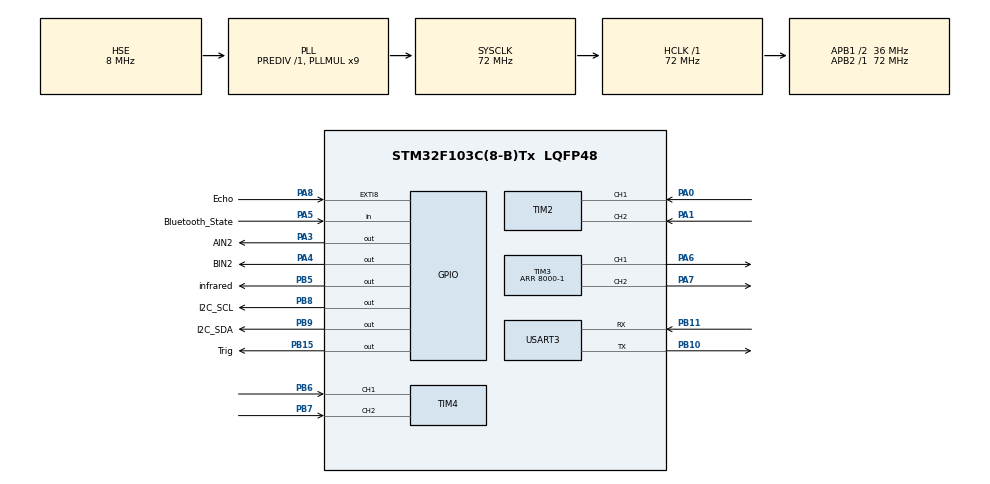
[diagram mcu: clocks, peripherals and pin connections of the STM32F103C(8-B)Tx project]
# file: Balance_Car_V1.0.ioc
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Dma.Request0=USART3_RX
Dma.Request1=USART3_TX
Dma.USART3_RX.0.Direction=DMA_PERIPH_TO_MEMORY
Dma.USART3_RX.0.Instance=DMA1_Channel3
Dma.USART3_RX.0.MemDataAlignment=DMA_MDATAALIGN_BYTE
Dma.USART3_RX.0.MemInc=DMA_MINC_ENABLE
Dma.USART3_RX.0.Mode=DMA_NORMAL
Dma.USART3_RX.0.PeriphDataAlignment=DMA_PDATAALIGN_BYTE
Dma.USART3_RX.0.PeriphInc=DMA_PINC_DISABLE
Dma.USART3_RX.0.Priority=DMA_PRIORITY_LOW
Dma.USART3_TX.1.Direction=DMA_MEMORY_TO_PERIPH
Dma.USART3_TX.1.Instance=DMA1_Channel2
Dma.USART3_TX.1.MemDataAlignment=DMA_MDATAALIGN_BYTE
Dma.USART3_TX.1.MemInc=DMA_MINC_ENABLE
Dma.USART3_TX.1.Mode=DMA_NORMAL
Dma.USART3_TX.1.PeriphDataAlignment=DMA_PDATAALIGN_BYTE
Dma.USART3_TX.1.PeriphInc=DMA_PINC_DISABLE
Dma.USART3_TX.1.Priority=DMA_PRIORITY_LOW
FREERTOS.Tasks01=defaultTask,24,128,StartDefaultTask,Default,NULL,Dynamic,NULL,NULL
FREERTOS.configLIBRARY_MAX_SYSCALL_INTERRUPT_PRIORITY=5
Mcu.Family=STM32F1
Mcu.Name=STM32F103C(8-B)Tx
Mcu.Package=LQFP48
NVIC.DMA1_Channel2_IRQn=true\:6\:0\:true\:false\:true\:true\:false\:true\:true
NVIC.DMA1_Channel3_IRQn=true\:6\:0\:true\:false\:true\:true\:false\:true\:true
NVIC.EXTI9_5_IRQn=true\:10\:0\:true\:false\:true\:true\:true\:true\:true
NVIC.PriorityGroup=NVIC_PRIORITYGROUP_4
NVIC.TIM1_UP_IRQn=true\:0\:0\:true\:false\:true\:false\:false\:true\:true
NVIC.TIM3_IRQn=true\:5\:0\:false\:false\:true\:true\:true\:true\:true
NVIC.TimeBase=TIM1_UP_IRQn
NVIC.TimeBaseIP=TIM1
NVIC.USART3_IRQn=true\:6\:0\:true\:false\:true\:true\:true\:true\:true
PA0-WKUP.Signal=S_TIM2_CH1_ETR
PA1.Signal=S_TIM2_CH2
PA13.Mode=Serial_Wire
PA13.Signal=SYS_JTMS-SWDIO
PA14.Mode=Serial_Wire
PA14.Signal=SYS_JTCK-SWCLK
PA3.GPIO_Label=AIN2
PA3.GPIO_Speed=GPIO_SPEED_FREQ_HIGH
PA3.Signal=GPIO_Output
PA4.GPIO_Label=BIN2
PA4.GPIO_Speed=GPIO_SPEED_FREQ_HIGH
PA4.Signal=GPIO_Output
PA5.GPIO_Label=Bluetooth_State
PA5.Signal=GPIO_Input
PA6.Signal=S_TIM3_CH1
PA7.Signal=S_TIM3_CH2
PA8.GPIO_Label=Echo
PA8.GPIO_ModeDefaultEXTI=GPIO_MODE_IT_RISING_FALLING
PA8.Signal=GPXTI8
PB10.Mode=Asynchronous
PB10.Signal=USART3_TX
PB11.Mode=Asynchronous
PB11.Signal=USART3_RX
PB15.GPIO_Label=Trig
PB15.Signal=GPIO_Output
PB5.GPIO_Label=infrared
PB5.GPIO_Speed=GPIO_SPEED_FREQ_LOW
PB5.PinState=GPIO_PIN_SET
PB5.Signal=GPIO_Output
PB6.Signal=S_TIM4_CH1
PB7.Signal=S_TIM4_CH2
PB8.GPIO_Label=I2C_SCL
PB8.GPIO_ModeDefaultOutputPP=GPIO_MODE_OUTPUT_OD
PB8.GPIO_PuPd=GPIO_PULLUP
PB8.GPIO_Speed=GPIO_SPEED_FREQ_HIGH
PB8.PinState=GPIO_PIN_SET
PB8.Signal=GPIO_Output
PB9.GPIO_Label=I2C_SDA
PB9.GPIO_ModeDefaultOutputPP=GPIO_MODE_OUTPUT_OD
PB9.GPIO_PuPd=GPIO_PULLUP
PB9.GPIO_Speed=GPIO_SPEED_FREQ_HIGH
PB9.PinState=GPIO_PIN_SET
PB9.Signal=GPIO_Output
PD0-OSC_IN.Mode=HSE-External-Oscillator
PD0-OSC_IN.Signal=RCC_OSC_IN
PD1-OSC_OUT.Mode=HSE-External-Oscillator
PD1-OSC_OUT.Signal=RCC_OSC_OUT
ProjectManager.HeapSize=0x200
ProjectManager.StackSize=0x400
ProjectManager.TargetToolchain=Makefile
RCC.AHBFreq_Value=72000000
RCC.APB1CLKDivider=RCC_HCLK_DIV2
RCC.APB1Freq_Value=36000000
RCC.APB1TimFreq_Value=72000000
RCC.APB2Freq_Value=72000000
RCC.APB2TimFreq_Value=72000000
RCC.HCLKFreq_Value=72000000
RCC.PLLMUL=RCC_PLL_MUL9
RCC.PLLSourceVirtual=RCC_PLLSOURCE_HSE
RCC.SYSCLKFreq_VALUE=72000000
RCC.SYSCLKSource=RCC_SYSCLKSOURCE_PLLCLK
RCC.USBFreq_Value=72000000
SH.S_TIM2_CH1_ETR.0=TIM2_CH1,Encoder_Interface
SH.S_TIM2_CH2.0=TIM2_CH2,Encoder_Interface
SH.S_TIM3_CH1.0=TIM3_CH1,PWM Generation1 CH1
SH.S_TIM3_CH2.0=TIM3_CH2,PWM Generation2 CH2
SH.S_TIM4_CH1.0=TIM4_CH1,Encoder_Interface
SH.S_TIM4_CH2.0=TIM4_CH2,Encoder_Interface
TIM3.Channel-PWM\ Generation1\ CH1=TIM_CHANNEL_1
TIM3.Channel-PWM\ Generation2\ CH2=TIM_CHANNEL_2
TIM3.Period=8000-1
USART3.VirtualMode=VM_ASYNC
VP_FREERTOS_VS_CMSIS_V2.Mode=CMSIS_V2
VP_SYS_VS_tim1.Mode=TIM1
board=custom

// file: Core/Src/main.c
/* USER CODE BEGIN Header */
/**
  ******************************************************************************
  * @file           : main.c
  * @brief          : Main program body
  ******************************************************************************
  * @attention
  *
  * Copyright (c) 2023 STMicroelectronics.
  * All rights reserved.
  *
  * This software is licensed under terms that can be found in the LICENSE file
  * in the root directory of this software component.
  * If no LICENSE file comes with this software, it is provided AS-IS.
  *
  ******************************************************************************
  */
/* USER CODE END Header */
#include "main.h"
#include "cmsis_os.h"
#include "dma.h"
#include "tim.h"
#include "usart.h"
#include "gpio.h"

/* USER CODE BEGIN Includes */
#include"OLED_Driver.h"
extern uint8_t complete_record;
extern osMessageQueueId_t uart_rx_dma_queue_id;
extern uint32_t time_record[4];
extern float dist;

/* USER CODE END Includes */

void SystemClock_Config(void);
void MX_FREERTOS_Init(void);

int main(void)
{

  /* MCU Configuration--------------------------------------------------------*/

  /* Reset of all peripherals, Initializes the Flash interface and the Systick. */
  HAL_Init();

  /* Configure the system clock */
  SystemClock_Config();

  /* Initialize all configured peripherals */
  MX_GPIO_Init();
  MX_DMA_Init();
  MX_USART3_UART_Init();
  MX_TIM2_Init();
  MX_TIM3_Init();
  MX_TIM4_Init();

  /* Init scheduler */
  osKernelInitialize();  /* Call init function for freertos objects (in freertos.c) */
  MX_FREERTOS_Init();

  /* Start scheduler */
  osKernelStart();
  /* We should never get here as control is now taken by the scheduler */
  /* Infinite loop */
  while (1)
  {

  }
}

void SystemClock_Config(void)
{
  RCC_OscInitTypeDef RCC_OscInitStruct = {0};
  RCC_ClkInitTypeDef RCC_ClkInitStruct = {0};

  /** Initializes the RCC Oscillators according to the specified parameters
  * in the RCC_OscInitTypeDef structure.
  */
  RCC_OscInitStruct.OscillatorType = RCC_OSCILLATORTYPE_HSE;
  RCC_OscInitStruct.HSEState = RCC_HSE_ON;
  RCC_OscInitStruct.HSEPredivValue = RCC_HSE_PREDIV_DIV1;
  RCC_OscInitStruct.HSIState = RCC_HSI_ON;
  RCC_OscInitStruct.PLL.PLLState = RCC_PLL_ON;
  RCC_OscInitStruct.PLL.PLLSource = RCC_PLLSOURCE_HSE;
  RCC_OscInitStruct.PLL.PLLMUL = RCC_PLL_MUL9;
  if (HAL_RCC_OscConfig(&RCC_OscInitStruct) != HAL_OK)
  {
    Error_Handler();
  }

  /** Initializes the CPU, AHB and APB buses clocks
  */
  RCC_ClkInitStruct.ClockType = RCC_CLOCKTYPE_HCLK|RCC_CLOCKTYPE_SYSCLK
                              |RCC_CLOCKTYPE_PCLK1|RCC_CLOCKTYPE_PCLK2;
  RCC_ClkInitStruct.SYSCLKSource = RCC_SYSCLKSOURCE_PLLCLK;
  RCC_ClkInitStruct.AHBCLKDivider = RCC_SYSCLK_DIV1;
  RCC_ClkInitStruct.APB1CLKDivider = RCC_HCLK_DIV2;
  RCC_ClkInitStruct.APB2CLKDivider = RCC_HCLK_DIV1;

  if (HAL_RCC_ClockConfig(&RCC_ClkInitStruct, FLASH_LATENCY_2) != HAL_OK)
  {
    Error_Handler();
  }
}

/* USER CODE BEGIN 4 */

/**
  * @brief  PWM Pulse finished callback in non-blocking mode
  * @param  htim TIM handle
  * @retval None
  */
void HAL_TIM_PWM_PulseFinishedCallback(TIM_HandleTypeDef *htim)
{
    // if(htim->Instance == TIM3)
    // {
    //   if(htim->Channel == HAL_TIM_ACTIVE_CHANNEL_3)
    //   {
    //      HAL_GPIO_WritePin(GPIOA,GPIO_PIN_3,RESET);
    //   }
    //   if(htim->Channel == HAL_TIM_ACTIVE_CHANNEL_4)
    //   {
    //     HAL_GPIO_WritePin(GPIOA,GPIO_PIN_4,RESET);
    //   }
    // }
    if(htim->Channel == HAL_TIM_ACTIVE_CHANNEL_3)
    {
        GPIOA->BRR = GPIO_PIN_3;
    } else if(htim->Channel == HAL_TIM_ACTIVE_CHANNEL_4)
    {
        GPIOA->BRR = GPIO_PIN_4;
    }
}

/*
  *@brief UART Callback function
*/
void HAL_UART_RxCpltCallback(UART_HandleTypeDef *huart)
{
  if(USART3 == huart->Instance){
      void *d = (void*)1;
      __HAL_UART_CLEAR_IDLEFLAG(huart);
      osMessageQueuePut(uart_rx_dma_queue_id,&d,0,0);
  }
  //osMessageQueuePut(uart_rx_dma_queue_id,&d,0,0);
}

/*
  * @brief  Echo Callback
  * @param  GPIO_Pin ：Echo_Pin
  * @retval 无
*/
void HAL_GPIO_EXTI_Callback(uint16_t GPIO_Pin)
{
  __HAL_GPIO_EXTI_CLEAR_IT(GPIO_Pin);
  if(GPIO_Pin == Echo_Pin)
  {
    //pull up trigger
    if(HAL_GPIO_ReadPin(Echo_GPIO_Port,Echo_Pin)==GPIO_PIN_SET)
    {
        time_record[1] = get_sysTick_ms();
        time_record[3] = get_sysTick_us_part();

    }
    //pull down trigger
    else if(HAL_GPIO_ReadPin(Echo_GPIO_Port,Echo_Pin)==GPIO_PIN_RESET)
    {
      //us
        uint32_t total_time;
        time_record[0] = get_sysTick_ms();
        time_record[2] = get_sysTick_us_part();
        total_time = (time_record[0] - time_record[1])*1000 + time_record[3] - time_record[2];
        dist = (float)total_time * 0.17;
    }
  }
}

/* USER CODE END 4 */

void HAL_TIM_PeriodElapsedCallback(TIM_HandleTypeDef *htim)
{
  /* USER CODE BEGIN Callback 0 */
   if(TIM3->CCR3 != 0)
        GPIOA->BSRR = GPIO_PIN_3;
    if(TIM3->CCR4 != 0)
        GPIOA->BSRR = GPIO_PIN_4;
  /* USER CODE END Callback 0 */
  if (htim->Instance == TIM1) {
    HAL_IncTick();
  }
  /* USER CODE BEGIN Callback 1 */
  // if (htim->Instance == TIM3)
  // {
  //    if((__HAL_TIM_GET_COMPARE(htim,TIM_CHANNEL_3))!=0)
  //     {
  //        HAL_GPIO_WritePin(GPIOA,GPIO_PIN_3,SET);
  //     }
  //     if((__HAL_TIM_GET_COMPARE(htim,TIM_CHANNEL_4))!=0)
  //     {
  //       HAL_GPIO_WritePin(GPIOA,GPIO_PIN_4,SET);
  //     }
  // }
  /* USER CODE END Callback 1 */
}

void Error_Handler(void)
{
  __disable_irq();
  while (1)
  {
  }
}

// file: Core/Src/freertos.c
/* USER CODE BEGIN Header */
/**
  ******************************************************************************
  * File Name          : freertos.c
  * Description        : Code for freertos applications
  ******************************************************************************
  * @attention
  *
  * Copyright (c) 2023 STMicroelectronics.
  * All rights reserved.
  *
  * This software is licensed under terms that can be found in the LICENSE file
  * in the root directory of this software component.
  * If no LICENSE file comes with this software, it is provided AS-IS.
  *
  ******************************************************************************
  */
/* USER CODE END Header */

#include "FreeRTOS.h"
#include "task.h"
#include "main.h"
#include "cmsis_os.h"

/* USER CODE BEGIN Includes */
#include"common_inc.h"
/* USER CODE END Includes */

/* USER CODE BEGIN Variables */
osSemaphoreId debug_print;
osMessageQueueId_t uart_rx_dma_queue_id;
osThreadId_t ultrasonicHandle;
osThreadId_t IMUHandle;
osThreadId_t bluetoothHandle;
osThreadId_t motionHandle;
/* USER CODE END Variables */
/* Definitions for defaultTask */
osThreadId_t defaultTaskHandle;

const osThreadAttr_t defaultTask_attributes = {
  .name = "defaultTask",
  .stack_size = 128 * 6,
  .priority = (osPriority_t) osPriorityNormal,
};

/* USER CODE BEGIN FunctionPrototypes */
void Ultrasonic_Task(void *argument);
void IMU_Get_Measure_Task(void *argument);
void Bluetooth_Task(void *argument);
void Motion_Task(void *argument);
/* USER CODE END FunctionPrototypes */

void StartDefaultTask(void *argument);

void MX_FREERTOS_Init(void); /* (MISRA C 2004 rule 8.1) */

void MX_FREERTOS_Init(void) {

  /* USER CODE BEGIN RTOS_SEMAPHORES */
  /* add semaphores, ... */
  osSemaphoreDef(debug_print);
  debug_print = osSemaphoreNew(1,1,osSemaphore(debug_print));

  /* USER CODE END RTOS_SEMAPHORES */

  /* USER CODE BEGIN RTOS_QUEUES */
  /* add queues, ... */
  uart_rx_dma_queue_id = osMessageQueueNew(10, sizeof(void *), NULL);
  /* USER CODE END RTOS_QUEUES */

  /* Create the thread(s) */
  /* creation of defaultTask */

  /* USER CODE BEGIN RTOS_THREADS */
  /* add threads, ... */

  const osThreadAttr_t ultrasonicThreadAtt = {
      .name = "ultrasonic",
      .stack_size = 128*6 ,
      .priority = (osPriority_t)osPriorityNormal,
  };
  const osThreadAttr_t IMUThreadAtt = {
      .name = "imu",
      .stack_size = 128*5,
      .priority = (osPriority_t)osPriorityAboveNormal,
  };
  const osThreadAttr_t bluetoothThreadAtt = {
      .name="bluetooth",
      .stack_size=128*6,
      .priority=(osPriority_t)osPriorityNormal,
  };
  const osThreadAttr_t motionThreadAtt = {
      .name = "motion",
      .stack_size = 128*6,
      .priority=(osPriority_t)osPriorityNormal,
  };

  IMUHandle = osThreadNew(IMU_Get_Measure_Task,NULL,&IMUThreadAtt);
  bluetoothHandle = osThreadNew(Bluetooth_Task,NULL,&bluetoothThreadAtt);
  defaultTaskHandle = osThreadNew(StartDefaultTask, NULL, &defaultTask_attributes);
  ultrasonicHandle = osThreadNew(Ultrasonic_Task,NULL,&ultrasonicThreadAtt);
  motionHandle = osThreadNew(Motion_Task,NULL,&motionThreadAtt);
  /* USER CODE END RTOS_THREADS */

}

void StartDefaultTask(void *argument)
{
  /* USER CODE BEGIN StartDefaultTask */
  /* Infinite loop */
  Main(argument);
  vTaskDelete(defaultTaskHandle);
  /* USER CODE END StartDefaultTask */
}

/* USER CODE BEGIN Application */
void Ultrasonic_Task(void *argument)
{
  Measure_Distance(argument);
  vTaskDelete(ultrasonicHandle);
}

void IMU_Get_Measure_Task(void *argument)
{
   IMU_Get_Data(argument);
   vTaskDelete(IMUHandle);
}

void Bluetooth_Task(void *argument)
{
  UART_Recv_DMA_Thread(argument);
  vTaskDelete(bluetoothHandle);
}

void Motion_Task(void *argument)
{
   Motion_Controller_Thread(argument);
   vTaskDelete(motionHandle);
}
/* USER CODE END Application */
